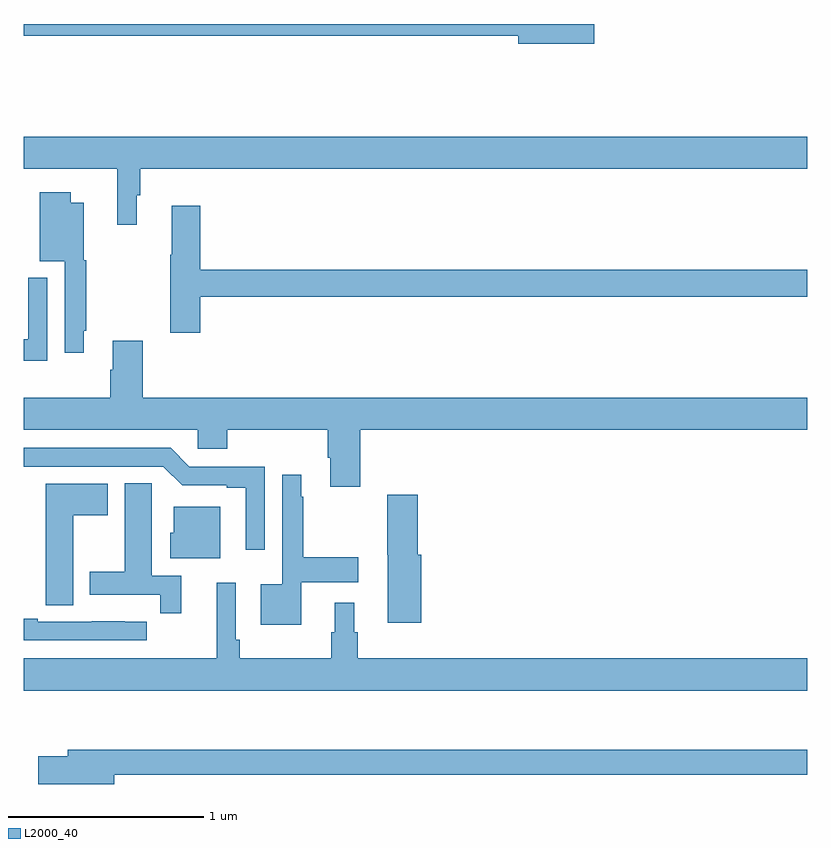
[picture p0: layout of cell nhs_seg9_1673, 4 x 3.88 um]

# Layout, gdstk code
import gdstk
lib = gdstk.Library(unit=1e-6, precision=1e-09)
def P(c, l, *ps):  # polygons
    for p in ps: c.add(gdstk.Polygon(p, *l))
L2000_40 = (2000, 40)

nhs_seg9_1673 = lib.new_cell('nhs_seg9_1673')
P(nhs_seg9_1673, L2000_40, [(207.913,1190.5),(205,1190.5),(205,1190.44),(207.524,1190.44),(207.524,1190.398),(207.913,1190.398)],
  [(205.576,1189.626),(205.595,1189.626),(205.595,1189.76),(209,1189.76),(209,1189.924),(205,1189.924),(205,1189.76),(205.477,1189.76),(205.477,1189.476),(205.576,1189.476)],
  [(205.306,1188.934),(205.318,1188.934),(205.318,1189.293),(205.306,1189.293),(205.306,1189.588),(205.24,1189.588),(205.24,1189.642),(205.082,1189.642),(205.082,1189.289),(205.209,1189.289),(205.209,1188.822),(205.306,1188.822)],
  [(205.901,1189.108),(209,1189.108),(209,1189.244),(205.901,1189.244),(205.901,1189.573),(205.754,1189.573),(205.754,1189.321),(205.747,1189.321),(205.747,1188.924),(205.901,1188.924)],
  [(205.119,1189.204),(205.022,1189.204),(205.022,1188.889),(205,1188.889),(205,1188.78),(205.119,1188.78)],
  [(206.717,1188.428),(209,1188.428),(209,1188.592),(205.607,1188.592),(205.607,1188.883),(205.454,1188.883),(205.454,1188.734),(205.442,1188.734),(205.442,1188.592),(205,1188.592),(205,1188.428),(205.887,1188.428),(205.887,1188.33),(206.039,1188.33),(206.039,1188.428),(206.552,1188.428),(206.552,1188.286),(206.564,1188.286),(206.564,1188.138),(206.717,1188.138)],
  [(206.229,1188.24),(205.845,1188.24),(205.749,1188.336),(205,1188.336),(205,1188.24),(205.713,1188.24),(205.809,1188.144),(206.036,1188.144),(206.036,1188.132),(206.132,1188.132),(206.132,1187.814),(206.229,1187.814)],
  [(206.416,1187.648),(206.707,1187.648),(206.707,1187.778),(206.428,1187.778),(206.428,1188.086),(206.416,1188.086),(206.416,1188.199),(206.319,1188.199),(206.319,1187.638),(206.21,1187.638),(206.21,1187.432),(206.416,1187.432)],
  [(205.805,1187.682),(205.654,1187.682),(205.654,1188.044),(205.653,1188.044),(205.653,1188.155),(205.514,1188.155),(205.514,1187.703),(205.337,1187.703),(205.337,1187.586),(205.696,1187.586),(205.696,1187.49),(205.805,1187.49)],
  [(205.252,1187.992),(205.429,1187.992),(205.429,1188.151),(205.112,1188.151),(205.112,1187.641),(205.113,1187.641),(205.113,1187.533),(205.252,1187.533)],
  [(207.029,1187.79),(207.011,1187.79),(207.011,1188.097),(206.857,1188.097),(206.857,1187.79),(206.858,1187.79),(206.858,1187.442),(207.029,1187.442)],
  [(206.002,1188.034),(205.766,1188.034),(205.766,1187.901),(205.748,1187.901),(205.748,1187.771),(206.002,1187.771)],
  [(205.627,1187.448),(205.514,1187.448),(205.514,1187.449),(205.348,1187.449),(205.348,1187.448),(205.072,1187.448),(205.072,1187.463),(205,1187.463),(205,1187.352),(205.627,1187.352)],
  [(206.588,1187.545),(206.588,1187.394),(206.569,1187.394),(206.569,1187.26),(206.102,1187.26),(206.102,1187.356),(206.082,1187.356),(206.082,1187.647),(205.985,1187.647),(205.985,1187.26),(205,1187.26),(205,1187.096),(209,1187.096),(209,1187.26),(206.705,1187.26),(206.705,1187.394),(206.686,1187.394),(206.686,1187.545)],
  [(205.462,1186.666),(209,1186.666),(209,1186.795),(205.223,1186.795),(205.223,1186.761),(205.074,1186.761),(205.074,1186.619),(205.462,1186.619)])

lib.write_gds('nhs_seg9_1673.gds')
